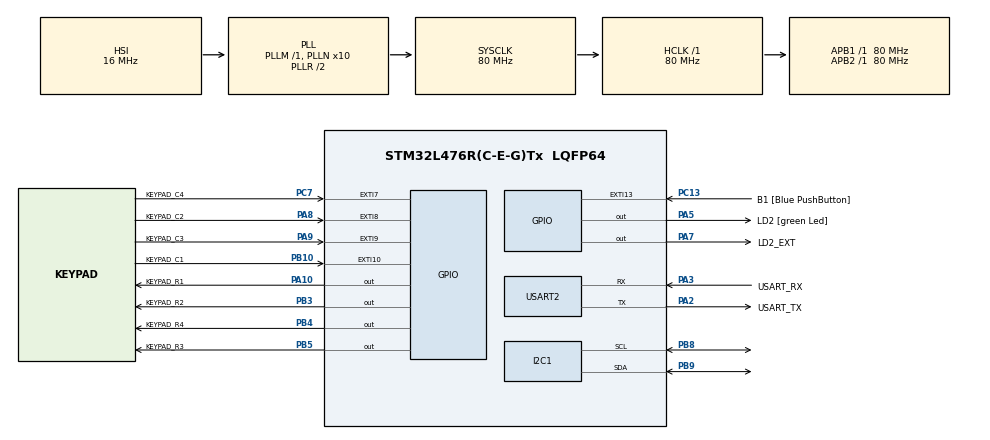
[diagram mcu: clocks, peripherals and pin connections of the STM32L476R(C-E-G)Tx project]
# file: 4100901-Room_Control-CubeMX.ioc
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I2C1.Timing=0x10D19CE4
Mcu.Family=STM32L4
Mcu.Name=STM32L476R(C-E-G)Tx
Mcu.Package=LQFP64
NVIC.EXTI15_10_IRQn=true\:0\:0\:false\:false\:true\:true\:true\:true
NVIC.EXTI9_5_IRQn=true\:0\:0\:false\:false\:true\:true\:true\:true
NVIC.PriorityGroup=NVIC_PRIORITYGROUP_4
NVIC.USART2_IRQn=true\:0\:0\:false\:false\:true\:true\:true\:true
PA10.GPIO_Label=KEYPAD_R1
PA10.Signal=GPIO_Output
PA13\ (JTMS-SWDIO).GPIO_Label=TMS
PA13\ (JTMS-SWDIO).Mode=Serial_Wire
PA13\ (JTMS-SWDIO).Signal=SYS_JTMS-SWDIO
PA14\ (JTCK-SWCLK).GPIO_Label=TCK
PA14\ (JTCK-SWCLK).Mode=Serial_Wire
PA14\ (JTCK-SWCLK).Signal=SYS_JTCK-SWCLK
PA2.GPIO_Label=USART_TX
PA2.GPIO_Mode=GPIO_MODE_AF_PP
PA2.GPIO_PuPd=GPIO_NOPULL
PA2.GPIO_Speed=GPIO_SPEED_FREQ_VERY_HIGH
PA2.Mode=Asynchronous
PA2.Signal=USART2_TX
PA3.GPIO_Label=USART_RX
PA3.GPIO_Mode=GPIO_MODE_AF_PP
PA3.GPIO_PuPd=GPIO_NOPULL
PA3.GPIO_Speed=GPIO_SPEED_FREQ_VERY_HIGH
PA3.Mode=Asynchronous
PA3.Signal=USART2_RX
PA5.GPIO_Label=LD2 [green Led]
PA5.GPIO_ModeDefaultOutputPP=GPIO_MODE_OUTPUT_PP
PA5.GPIO_PuPd=GPIO_NOPULL
PA5.GPIO_Speed=GPIO_SPEED_FREQ_LOW
PA5.Signal=GPIO_Output
PA7.GPIO_Label=LD2_EXT
PA7.Signal=GPIO_Output
PA8.GPIO_Label=KEYPAD_C2
PA8.GPIO_PuPd=GPIO_PULLUP
PA8.Signal=GPXTI8
PA9.GPIO_Label=KEYPAD_C3
PA9.GPIO_PuPd=GPIO_PULLUP
PA9.Signal=GPXTI9
PB10.GPIO_Label=KEYPAD_C1
PB10.GPIO_PuPd=GPIO_PULLUP
PB10.Signal=GPXTI10
PB3\ (JTDO-TRACESWO).GPIO_Label=KEYPAD_R2
PB3\ (JTDO-TRACESWO).Signal=GPIO_Output
PB4\ (NJTRST).GPIO_Label=KEYPAD_R4
PB4\ (NJTRST).Signal=GPIO_Output
PB5.GPIO_Label=KEYPAD_R3
PB5.Signal=GPIO_Output
PB8.Mode=I2C
PB8.Signal=I2C1_SCL
PB9.Mode=I2C
PB9.Signal=I2C1_SDA
PC13.GPIO_Label=B1 [Blue PushButton]
PC13.GPIO_ModeDefaultEXTI=GPIO_MODE_IT_FALLING
PC13.GPIO_PuPd=GPIO_NOPULL
PC13.Signal=GPXTI13
PC14-OSC32_IN\ (PC14).Mode=LSE-External-Oscillator
PC14-OSC32_IN\ (PC14).Signal=RCC_OSC32_IN
PC15-OSC32_OUT\ (PC15).Mode=LSE-External-Oscillator
PC15-OSC32_OUT\ (PC15).Signal=RCC_OSC32_OUT
PC7.GPIO_Label=KEYPAD_C4
PC7.GPIO_PuPd=GPIO_PULLUP
PC7.Signal=GPXTI7
PH0-OSC_IN\ (PH0).Signal=RCC_OSC_IN
PH1-OSC_OUT\ (PH1).Signal=RCC_OSC_OUT
ProjectManager.HeapSize=0x200
ProjectManager.StackSize=0x400
ProjectManager.TargetToolchain=CMake
RCC.ADCFreq_Value=64000000
RCC.AHBFreq_Value=80000000
RCC.APB1Freq_Value=80000000
RCC.APB1TimFreq_Value=80000000
RCC.APB2Freq_Value=80000000
RCC.APB2TimFreq_Value=80000000
RCC.CortexFreq_Value=80000000
RCC.HCLKFreq_Value=80000000
RCC.HSE_VALUE=8000000
RCC.HSI_VALUE=16000000
RCC.MSI_VALUE=4000000
RCC.PLLN=10
RCC.PLLSourceVirtual=RCC_PLLSOURCE_HSI
RCC.PREFETCH_ENABLE=1
RCC.SYSCLKFreq_VALUE=80000000
RCC.SYSCLKSource=RCC_SYSCLKSOURCE_PLLCLK
RCC.USBFreq_Value=64000000
RCC.VCOOutputFreq_Value=160000000
USART2.VirtualMode-Asynchronous=VM_ASYNC
board=NUCLEO-L476RG

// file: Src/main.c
/* USER CODE BEGIN Header */
/**
  **************************
  * @file           : main.c
  * @brief          : Main program body
  **************************
  * @attention
  *
  * Copyright (c) 2025 STMicroelectronics.
  * All rights reserved.
  *
  * This software is licensed under terms that can be found in the LICENSE file
  * in the root directory of this software component.
  * If no LICENSE file comes with this software, it is provided AS-IS.
  *
  **************************
  */
/* USER CODE END Header */
#include "main.h"

/* USER CODE BEGIN Includes */

#include "led_driver.h"
#include "ring_buffer.h"
#include "keypad_driver.h"
#include "ssd1306.h"
#include "ssd1306_fonts.h"
#include <stdio.h>
#include <string.h>
/* USER CODE END Includes */

/* USER CODE BEGIN PM */

I2C_HandleTypeDef hi2c1;
UART_HandleTypeDef huart2;

/* USER CODE BEGIN PV */
led_handle_t led1 = { .port = GPIOA, .pin = GPIO_PIN_5 }; // LD2 en NUCLEO-L476RG

#define UART2_RX_LEN 16
uint8_t uart2_rx_buffer[UART2_RX_LEN];
ring_buffer_t uart2_rx_rb;
uint8_t uart2_rx_data; // Variable to hold received data

keypad_handle_t keypad = {
    .row_ports = {KEYPAD_R1_GPIO_Port, KEYPAD_R2_GPIO_Port, KEYPAD_R3_GPIO_Port, KEYPAD_R4_GPIO_Port},
    .row_pins  = {KEYPAD_R1_Pin, KEYPAD_R2_Pin, KEYPAD_R3_Pin, KEYPAD_R4_Pin},
    .col_ports = {KEYPAD_C1_GPIO_Port, KEYPAD_C2_GPIO_Port, KEYPAD_C3_GPIO_Port, KEYPAD_C4_GPIO_Port},
    .col_pins  = {KEYPAD_C1_Pin, KEYPAD_C2_Pin, KEYPAD_C3_Pin, KEYPAD_C4_Pin}
};

#define KEYPAD_BUFFER_LEN 16
uint8_t keypad_buffer[KEYPAD_BUFFER_LEN];
ring_buffer_t keypad_rb;

/* --- Access Control Variables --- */
#define ACCESS_CODE_LENGTH 4
const char access_code[ACCESS_CODE_LENGTH + 1] = "123D"; // Example: 1 2 3 D
char entered_code[ACCESS_CODE_LENGTH + 1] = {0};
uint8_t entered_count = 0;
uint8_t access_granted = 0;
uint8_t access_denied = 0;
/* USER CODE END PV */

/* Redirección de printf a UART2 */
int __io_putchar(int ch) {
    HAL_UART_Transmit(&huart2, (uint8_t *)&ch, 1, HAL_MAX_DELAY);
    return ch;
}
int _write(int file, char *ptr, int len) {
    HAL_UART_Transmit(&huart2, (uint8_t *)ptr, len, HAL_MAX_DELAY);
    (void)file;
    return len;
}

void SystemClock_Config(void);
static void MX_GPIO_Init(void);
static void MX_USART2_UART_Init(void);
static void MX_I2C1_Init(void);

/* USER CODE BEGIN 0 */
uint32_t last_interrupt_time = 0;  // Variable global para almacenar el tiempo de la última interrupción
#define DEBOUNCE_DELAY 50           // Tiempo de debounce en milisegundos

void HAL_UART_RxCpltCallback(UART_HandleTypeDef *huart)
{
    if (huart->Instance == USART2) {
      HAL_UART_Receive_IT(&huart2, &uart2_rx_data, 1);
      ring_buffer_write(&uart2_rx_rb, uart2_rx_data);
    }
}

void HAL_GPIO_EXTI_Callback(uint16_t GPIO_Pin) {
    uint32_t current_time = HAL_GetTick();
    if (current_time - last_interrupt_time > DEBOUNCE_DELAY) {
        char key = keypad_scan(&keypad, GPIO_Pin);
        if (key != '\0') {
            printf("Tecla presionada: %c\r\n", key); // Imprime la tecla presionada
            // Solo escribe en el buffer si no se ha concedido ni denegado el acceso
            if (!access_granted && !access_denied) {
                ring_buffer_write(&keypad_rb, (uint8_t)key);
            }
        }
        last_interrupt_time = current_time;  // Actualiza el tiempo de la última interrupción
    }
}

/* Helper: Blink LED n times */
void blink_led(led_handle_t *led, uint8_t times, uint32_t delay_ms) {
    for (uint8_t i = 0; i < times; i++) {
        led_on(led);
        HAL_Delay(delay_ms);
        led_off(led);
        HAL_Delay(delay_ms);
    }
}
/* USER CODE END 0 */

int main(void)
{

  /* MCU Configuration--------------------------------------------------------*/

  /* Reset of all peripherals, Initializes the Flash interface and the Systick. */
  HAL_Init();

  /* Configure the system clock */
  SystemClock_Config();

  /* Initialize all configured peripherals */
  MX_GPIO_Init();
  MX_USART2_UART_Init();
  MX_I2C1_Init();
  /* USER CODE BEGIN 2 */

  ring_buffer_init(&uart2_rx_rb, uart2_rx_buffer, UART2_RX_LEN);
  HAL_UART_Receive_IT(&huart2, &uart2_rx_data, 1);

  led_init(&led1);
  ring_buffer_init(&keypad_rb, keypad_buffer, KEYPAD_BUFFER_LEN);
  keypad_init(&keypad);

  //SSD1306 initialization and display example
  ssd1306_Init();
  ssd1306_Fill(Black);
  ssd1306_SetCursor(10, 10);
  ssd1306_WriteString("Sistema listo", Font_7x10, White);
  ssd1306_SetCursor(10, 30);
  ssd1306_WriteString("Ingrese clave:", Font_7x10, White);
  ssd1306_UpdateScreen();

  printf("Sistema listo. Esperando pulsaciones del teclado...\r\n");
  /* USER CODE END 2 */

  /* Infinite loop */
  /* USER CODE BEGIN WHILE */
  while (1)
  {
    /* --- Access Control Logic --- */
    uint8_t key_from_buffer;

    if (ring_buffer_read(&keypad_rb, &key_from_buffer)) {
        char key = (char)key_from_buffer;

        // Show key on OLED (mask with '*' if you want)
        ssd1306_SetCursor(10 + entered_count * 15, 50);
        char key_str[2] = {key, 0};
        ssd1306_WriteString(key_str, Font_7x10, White);
        ssd1306_UpdateScreen();

        // Store key
        if (entered_count < ACCESS_CODE_LENGTH) {
            entered_code[entered_count++] = key;
        }

        // If 4 keys entered, check code
        if (entered_count == ACCESS_CODE_LENGTH) {
            entered_code[ACCESS_CODE_LENGTH] = '\0';

            // Show entered code on serial
            printf("Codigo ingresado: %s\r\n", entered_code);

            // Compare
            if (strcmp(entered_code, access_code) == 0) {
                // Access granted
                access_granted = 1;
                access_denied = 0;
                led_on(&led1);

                // OLED feedback
                ssd1306_Fill(Black);
                ssd1306_SetCursor(10, 20);
                ssd1306_WriteString("ACCESO PERMITIDO", Font_7x10, White);
                ssd1306_UpdateScreen();

                printf("ACCESO PERMITIDO\r\n");
            } else {
                // Access denied
                access_granted = 0;
                access_denied = 1;
                blink_led(&led1, 3, 200);

                // OLED feedback
                ssd1306_Fill(Black);
                ssd1306_SetCursor(10, 20);
                ssd1306_WriteString("ACCESO DENEGADO", Font_7x10, White);
                ssd1306_UpdateScreen();

                printf("ACCESO DENEGADO\r\n");
            }

            // Wait a moment, then reset for next try
            HAL_Delay(1200);
            led_off(&led1);
            entered_count = 0;
            memset(entered_code, 0, sizeof(entered_code));
            access_granted = 0; // Reinicia la bandera
            access_denied = 0;    // Reinicia la bandera

            // Clear OLED and prompt again
            ssd1306_Fill(Black);
            ssd1306_SetCursor(10, 10);
            ssd1306_WriteString("Sistema listo", Font_7x10, White);
            ssd1306_SetCursor(10, 30);
            ssd1306_WriteString("Ingrese clave:", Font_7x10, White);
            ssd1306_UpdateScreen();
        }
    }
    else
    {
         HAL_Delay(10);
    }

    // Optional: process UART ring buffer (not required for access control)
    if (ring_buffer_count(&uart2_rx_rb) >= 5) {
        for (int i = 0; i < 5; i++) {
            if (ring_buffer_read(&uart2_rx_rb, &uart2_rx_data)) {
                HAL_UART_Transmit(&huart2, &uart2_rx_data, 1, HAL_MAX_DELAY);
            }
        }
    }

    HAL_Delay(10); // Small delay to avoid busy loop
    /* USER CODE END WHILE */

  }
}

void SystemClock_Config(void)
{
  RCC_OscInitTypeDef RCC_OscInitStruct = {0};
  RCC_ClkInitTypeDef RCC_ClkInitStruct = {0};

  /** Configure the main internal regulator output voltage
  */
  if (HAL_PWREx_ControlVoltageScaling(PWR_REGULATOR_VOLTAGE_SCALE1) != HAL_OK)
  {
    Error_Handler();
  }

  /** Initializes the RCC Oscillators according to the specified parameters
  * in the RCC_OscInitTypeDef structure.
  */
  RCC_OscInitStruct.OscillatorType = RCC_OSCILLATORTYPE_HSI;
  RCC_OscInitStruct.HSIState = RCC_HSI_ON;
  RCC_OscInitStruct.HSICalibrationValue = RCC_HSICALIBRATION_DEFAULT;
  RCC_OscInitStruct.PLL.PLLState = RCC_PLL_ON;
  RCC_OscInitStruct.PLL.PLLSource = RCC_PLLSOURCE_HSI;
  RCC_OscInitStruct.PLL.PLLM = 1;
  RCC_OscInitStruct.PLL.PLLN = 10;
  RCC_OscInitStruct.PLL.PLLP = RCC_PLLP_DIV7;
  RCC_OscInitStruct.PLL.PLLQ = RCC_PLLQ_DIV2;
  RCC_OscInitStruct.PLL.PLLR = RCC_PLLR_DIV2;
  if (HAL_RCC_OscConfig(&RCC_OscInitStruct) != HAL_OK)
  {
    Error_Handler();
  }

  /** Initializes the CPU, AHB and APB buses clocks
  */
  RCC_ClkInitStruct.ClockType = RCC_CLOCKTYPE_HCLK|RCC_CLOCKTYPE_SYSCLK
                              |RCC_CLOCKTYPE_PCLK1|RCC_CLOCKTYPE_PCLK2;
  RCC_ClkInitStruct.SYSCLKSource = RCC_SYSCLKSOURCE_PLLCLK;
  RCC_ClkInitStruct.AHBCLKDivider = RCC_SYSCLK_DIV1;
  RCC_ClkInitStruct.APB1CLKDivider = RCC_HCLK_DIV1;
  RCC_ClkInitStruct.APB2CLKDivider = RCC_HCLK_DIV1;

  if (HAL_RCC_ClockConfig(&RCC_ClkInitStruct, FLASH_LATENCY_4) != HAL_OK)
  {
    Error_Handler();
  }
}

static void MX_I2C1_Init(void)
{

  hi2c1.Instance = I2C1;
  hi2c1.Init.Timing = 0x10D19CE4;
  hi2c1.Init.OwnAddress1 = 0;
  hi2c1.Init.AddressingMode = I2C_ADDRESSINGMODE_7BIT;
  hi2c1.Init.DualAddressMode = I2C_DUALADDRESS_DISABLE;
  hi2c1.Init.OwnAddress2 = 0;
  hi2c1.Init.OwnAddress2Masks = I2C_OA2_NOMASK;
  hi2c1.Init.GeneralCallMode = I2C_GENERALCALL_DISABLE;
  hi2c1.Init.NoStretchMode = I2C_NOSTRETCH_DISABLE;
  if (HAL_I2C_Init(&hi2c1) != HAL_OK)
  {
    Error_Handler();
  }

  /** Configure Analogue filter
  */
  if (HAL_I2CEx_ConfigAnalogFilter(&hi2c1, I2C_ANALOGFILTER_ENABLE) != HAL_OK)
  {
    Error_Handler();
  }

  /** Configure Digital filter
  */
  if (HAL_I2CEx_ConfigDigitalFilter(&hi2c1, 0) != HAL_OK)
  {
    Error_Handler();
  }

}

static void MX_USART2_UART_Init(void)
{

  huart2.Instance = USART2;
  huart2.Init.BaudRate = 115200;
  huart2.Init.WordLength = UART_WORDLENGTH_8B;
  huart2.Init.StopBits = UART_STOPBITS_1;
  huart2.Init.Parity = UART_PARITY_NONE;
  huart2.Init.Mode = UART_MODE_TX_RX;
  huart2.Init.HwFlowCtl = UART_HWCONTROL_NONE;
  huart2.Init.OverSampling = UART_OVERSAMPLING_16;
  huart2.Init.OneBitSampling = UART_ONE_BIT_SAMPLE_DISABLE;
  huart2.AdvancedInit.AdvFeatureInit = UART_ADVFEATURE_NO_INIT;
  if (HAL_UART_Init(&huart2) != HAL_OK)
  {
    Error_Handler();
  }

}

static void MX_GPIO_Init(void)
{
  GPIO_InitTypeDef GPIO_InitStruct = {0};

  /* GPIO Ports Clock Enable */
  __HAL_RCC_GPIOC_CLK_ENABLE();
  __HAL_RCC_GPIOH_CLK_ENABLE();
  __HAL_RCC_GPIOA_CLK_ENABLE();
  __HAL_RCC_GPIOB_CLK_ENABLE();

  /*Configure GPIO pin Output Level */
  HAL_GPIO_WritePin(GPIOA, LD2_Pin|KEYPAD_R1_Pin, GPIO_PIN_RESET);

  /*Configure GPIO pin Output Level */
  HAL_GPIO_WritePin(GPIOB, KEYPAD_R2_Pin|KEYPAD_R4_Pin|KEYPAD_R3_Pin, GPIO_PIN_RESET);

  /*Configure GPIO pin : B1_Pin */
  GPIO_InitStruct.Pin = B1_Pin;
  GPIO_InitStruct.Mode = GPIO_MODE_IT_FALLING;
  GPIO_InitStruct.Pull = GPIO_NOPULL;
  HAL_GPIO_Init(B1_GPIO_Port, &GPIO_InitStruct);

  /*Configure GPIO pins : LD2_Pin KEYPAD_R1_Pin */
  GPIO_InitStruct.Pin = LD2_Pin|KEYPAD_R1_Pin;
  GPIO_InitStruct.Mode = GPIO_MODE_OUTPUT_PP;
  GPIO_InitStruct.Pull = GPIO_NOPULL;
  GPIO_InitStruct.Speed = GPIO_SPEED_FREQ_LOW;
  HAL_GPIO_Init(GPIOA, &GPIO_InitStruct);

  /*Configure GPIO pin : KEYPAD_C1_Pin */
  GPIO_InitStruct.Pin = KEYPAD_C1_Pin;
  GPIO_InitStruct.Mode = GPIO_MODE_IT_RISING;
  GPIO_InitStruct.Pull = GPIO_PULLUP;
  HAL_GPIO_Init(KEYPAD_C1_GPIO_Port, &GPIO_InitStruct);

  /*Configure GPIO pin : KEYPAD_C4_Pin */
  GPIO_InitStruct.Pin = KEYPAD_C4_Pin;
  GPIO_InitStruct.Mode = GPIO_MODE_IT_RISING;
  GPIO_InitStruct.Pull = GPIO_PULLUP;
  HAL_GPIO_Init(KEYPAD_C4_GPIO_Port, &GPIO_InitStruct);

  /*Configure GPIO pins : KEYPAD_C2_Pin KEYPAD_C3_Pin */
  GPIO_InitStruct.Pin = KEYPAD_C2_Pin|KEYPAD_C3_Pin;
  GPIO_InitStruct.Mode = GPIO_MODE_IT_RISING;
  GPIO_InitStruct.Pull = GPIO_PULLUP;
  HAL_GPIO_Init(GPIOA, &GPIO_InitStruct);

  /*Configure GPIO pins : KEYPAD_R2_Pin KEYPAD_R4_Pin KEYPAD_R3_Pin */
  GPIO_InitStruct.Pin = KEYPAD_R2_Pin|KEYPAD_R4_Pin|KEYPAD_R3_Pin;
  GPIO_InitStruct.Mode = GPIO_MODE_OUTPUT_PP;
  GPIO_InitStruct.Pull = GPIO_NOPULL;
  GPIO_InitStruct.Speed = GPIO_SPEED_FREQ_LOW;
  HAL_GPIO_Init(GPIOB, &GPIO_InitStruct);

  /* EXTI interrupt init*/
  HAL_NVIC_SetPriority(EXTI9_5_IRQn, 0, 0);
  HAL_NVIC_EnableIRQ(EXTI9_5_IRQn);

  HAL_NVIC_SetPriority(EXTI15_10_IRQn, 0, 0);
  HAL_NVIC_EnableIRQ(EXTI15_10_IRQn);

}

void Error_Handler(void)
{
  __disable_irq();
  while (1)
  {
  }
}
